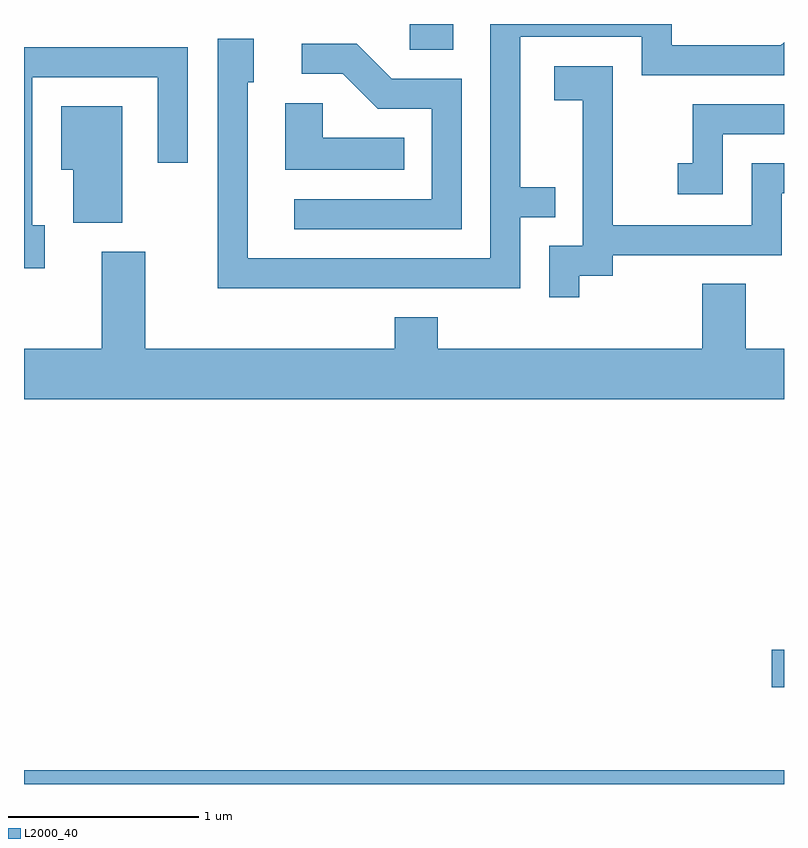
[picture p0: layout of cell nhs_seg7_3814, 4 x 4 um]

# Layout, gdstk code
import gdstk
lib = gdstk.Library(unit=1e-6, precision=1e-09)
def R(c, l, rs):  # rectangles x0, y0, x1, y1
    for r in rs: c.add(gdstk.rectangle(r[:2], r[2:], *l))
def P(c, l, *ps):  # polygons
    for p in ps: c.add(gdstk.Polygon(p, *l))
L2000_40 = (2000, 40)

nhs_seg7_3814 = lib.new_cell('nhs_seg7_3814')
R(nhs_seg7_3814, L2000_40, [(301.611,1752.252,305.611,1752.324), (305.546,1752.761,305.611,1752.959), (303.641,1756.116,303.869,1756.252)])
P(nhs_seg7_3814, L2000_40, [(304.224,1755.236),(304.408,1755.236),(304.408,1755.394),(304.224,1755.394),(304.224,1756.186),(304.861,1756.186),(304.861,1755.981),(305.611,1755.981),(305.611,1756.156),(305.594,1756.139),(305.019,1756.139),(305.019,1756.252),(304.066,1756.252),(304.066,1755.019),(302.789,1755.019),(302.789,1755.946),(302.819,1755.946),(302.819,1756.174),(302.631,1756.174),(302.631,1754.861),(304.224,1754.861)],
  [(303.914,1755.964),(303.547,1755.964),(303.362,1756.149),(303.073,1756.149),(303.073,1755.991),(303.289,1755.991),(303.474,1755.806),(303.756,1755.806),(303.756,1755.329),(303.033,1755.329),(303.033,1755.171),(303.914,1755.171)],
  [(301.719,1755.194),(301.654,1755.194),(301.654,1755.971),(302.316,1755.971),(302.316,1755.523),(302.474,1755.523),(302.474,1756.129),(301.611,1756.129),(301.611,1754.966),(301.719,1754.966)],
  [(304.534,1754.926),(304.709,1754.926),(304.709,1755.036),(305.599,1755.036),(305.599,1755.361),(305.611,1755.361),(305.611,1755.519),(305.441,1755.519),(305.441,1755.194),(304.709,1755.194),(304.709,1756.029),(304.401,1756.029),(304.401,1755.851),(304.551,1755.851),(304.551,1755.084),(304.376,1755.084),(304.376,1754.813),(304.534,1754.813)],
  [(303.613,1755.654),(303.184,1755.654),(303.184,1755.834),(302.986,1755.834),(302.986,1755.486),(303.613,1755.486)],
  [(305.289,1755.671),(305.611,1755.671),(305.611,1755.829),(305.131,1755.829),(305.131,1755.519),(305.053,1755.519),(305.053,1755.356),(305.289,1755.356)],
  [(302.129,1755.819),(301.806,1755.819),(301.806,1755.486),(301.871,1755.486),(301.871,1755.206),(302.129,1755.206)],
  [(305.611,1754.544),(305.409,1754.544),(305.409,1754.884),(305.181,1754.884),(305.181,1754.544),(303.789,1754.544),(303.789,1754.709),(303.561,1754.709),(303.561,1754.544),(302.249,1754.544),(302.249,1755.054),(302.021,1755.054),(302.021,1754.544),(301.611,1754.544),(301.611,1754.276),(305.611,1754.276)])

lib.write_gds('nhs_seg7_3814.gds')
